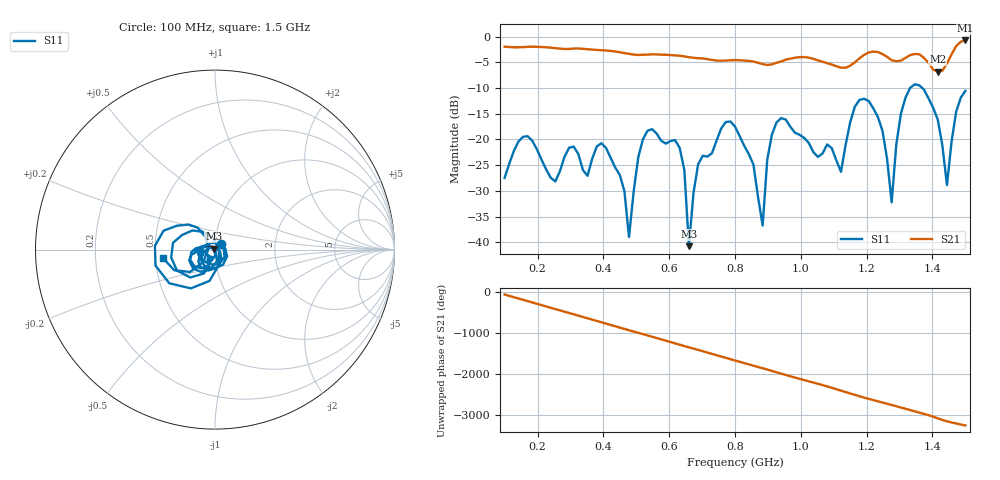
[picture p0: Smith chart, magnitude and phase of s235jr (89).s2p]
! NanoVNA-App
! Date: 2025-09-25 15:04:51
! Start: 100MHz Stop: 1,5GHz Points: 101
! S-Parameter data: F S11 S21 S12 S22
# Hz S RI R 50
!  Frequency  S11_Real  S11_Imag  S21_Real  S21_Imag  S12_Real  S12_Imag  S22_Real  S22_Imag
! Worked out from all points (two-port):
!   101 points, 100 MHz to 1.5 GHz, reference 50 ohm
!   highest |S21| = -0.77 dB at 1.5 GHz (marker M1); lowest = -6.8 dB at 1.416 GHz (marker M2)
!   |S21| within 3 dB of the highest: start of sweep to 635.1 MHz; 1.188 GHz to 1.257 GHz (69.32 MHz wide, 5.67 % of centre) (the widest 2 of 4)
!   lowest |S11| = -40.8 dB at 660 MHz (marker M3), VSWR 1.02, Z = 49.3 + j0.57 ohm
!   |S11| at or under -10 dB: start of sweep to 1.332 GHz; 1.369 GHz to end of sweep
!   S12 and S22 are empty: the file has one direction only
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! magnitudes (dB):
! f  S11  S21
! 100 MHz  -27.5  -2.0
! 170 MHz  -19.4  -2.0
! 338 MHz  -26.0  -2.4
! 408 MHz  -21.6  -2.7
! 478 MHz  -39.0  -3.4
! 520 MHz  -20.0  -3.5
! 576 MHz  -20.3  -3.5
! 632 MHz  -21.7  -3.7
! 660 MHz  -40.8  -4.0
! 688 MHz  -24.8  -4.2
! 800 MHz  -17.5  -4.6
! 884 MHz  -36.7  -5.4
! 898 MHz  -23.9  -5.5
! 926 MHz  -16.7  -5.1
! 1.038 GHz  -22.5  -4.3
! 1.122 GHz  -26.3  -6.1
! 1.206 GHz  -12.5  -3.1
! 1.276 GHz  -32.2  -4.6
! 1.332 GHz  -10.0  -3.6
! 1.416 GHz  -16.1  -6.8
! 1.444 GHz  -28.9  -5.2
! 1.5 GHz  -10.6  -0.8
